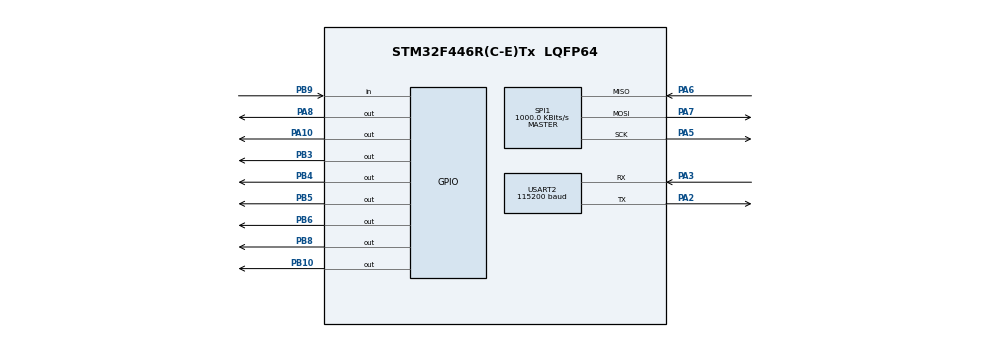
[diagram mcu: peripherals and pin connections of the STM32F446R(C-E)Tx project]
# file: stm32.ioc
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Mcu.Family=STM32F4
Mcu.Name=STM32F446R(C-E)Tx
Mcu.Package=LQFP64
NVIC.PriorityGroup=NVIC_PRIORITYGROUP_4
NVIC.USART2_IRQn=true\:0\:0\:false\:false\:true\:true\:true\:true
PA10.Signal=GPIO_Output
PA2.Mode=Asynchronous
PA2.Signal=USART2_TX
PA3.Mode=Asynchronous
PA3.Signal=USART2_RX
PA5.Mode=Full_Duplex_Master
PA5.Signal=SPI1_SCK
PA6.Mode=Full_Duplex_Master
PA6.Signal=SPI1_MISO
PA7.Mode=Full_Duplex_Master
PA7.Signal=SPI1_MOSI
PA8.Signal=GPIO_Output
PB10.Signal=GPIO_Output
PB3.Signal=GPIO_Output
PB4.Signal=GPIO_Output
PB5.Signal=GPIO_Output
PB6.Signal=GPIO_Output
PB8.Signal=GPIO_Output
PB9.Signal=GPIO_Input
ProjectManager.HeapSize=0x200
ProjectManager.StackSize=0x400
ProjectManager.TargetToolchain=STM32CubeIDE
RCC.CortexFreq_Value=16000000
RCC.USBFreq_Value=96000000
RCC.VCOOutputFreq_Value=192000000
SPI1.BaudRatePrescaler=SPI_BAUDRATEPRESCALER_16
SPI1.CLKPhase=SPI_PHASE_2EDGE
SPI1.CalculateBaudRate=1000.0 KBits/s
SPI1.Direction=SPI_DIRECTION_2LINES
SPI1.Mode=SPI_MODE_MASTER
SPI1.VirtualType=VM_MASTER
USART2.BaudRate=115200
USART2.VirtualMode=VM_ASYNC
board=custom

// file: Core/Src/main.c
/* USER CODE BEGIN Header */
/**
  ******************************************************************************
  * @file           : main.c
  * @brief          : Main program body
  ******************************************************************************
  * @attention
  *
  * Copyright (c) 2026 STMicroelectronics.
  * All rights reserved.
  *
  * This software is licensed under terms that can be found in the LICENSE file
  * in the root directory of this software component.
  * If no LICENSE file comes with this software, it is provided AS-IS.
  *
  ******************************************************************************
  */
/* USER CODE END Header */
#include "main.h"

/* USER CODE BEGIN Includes */
#include "stdio.h"
#include "string.h"
#include "python_to_stm32.h"
#include "ads.h"

/* USER CODE END Includes */

SPI_HandleTypeDef hspi1;

UART_HandleTypeDef huart2;

void SystemClock_Config(void);
static void MX_GPIO_Init(void);
static void MX_USART2_UART_Init(void);
static void MX_SPI1_Init(void);
/* USER CODE BEGIN PFP */

/**
   *  @brief Denne bruges til at modtage data fra python.
   */
  uint8_t rx_buffer[1] = {0};
  /*
   * @brief Denne har alle uart signalerne samlet i en buffer.
   */
  RingBuffer uart_rx_buf = { .buffer = {0}, .head = 0, .tail = 0 }; // stores every rx_buffer in a ring buffer, see interrupt function

/* USER CODE END PFP */

int main(void)
{

  /* MCU Configuration--------------------------------------------------------*/

  /* Reset of all peripherals, Initializes the Flash interface and the Systick. */
  HAL_Init();

  /* USER CODE BEGIN Init */
  setvbuf(stdout, NULL, _IONBF, 0);

  /* USER CODE END Init */

  /* Configure the system clock */
  SystemClock_Config();

  /* Initialize all configured peripherals */
  MX_GPIO_Init();
  MX_USART2_UART_Init();
  MX_SPI1_Init();
  /* USER CODE BEGIN 2 */

  //UART with ringbuffer init
  HAL_UART_Receive_IT(&huart2, rx_buffer, 1);

  /* USER CODE END 2 */

  /* Infinite loop */
  /* USER CODE BEGIN WHILE */
  ADS_Stats ads_status = {2,5,0,0,0};

  while (1)
  {
	  parse_commands(&uart_rx_buf, &ads_status);
	  /*if (ads_status.flag0) {printAllData(ads_status.minchan, ads_status.maxchan);}
	  else */
	  if (ads_status.flag1) {
		  printAllDataDumb(ads_status.minchan, ads_status.maxchan, ads_status.flag11);
		  if (ads_status.flag11 == 0) {
			  ads_status.flag11 = 1;
		  }
	  //
	  }
	  HAL_Delay(1);
    /* USER CODE END WHILE */

  }
}

void SystemClock_Config(void)
{
  RCC_OscInitTypeDef RCC_OscInitStruct = {0};
  RCC_ClkInitTypeDef RCC_ClkInitStruct = {0};

  /** Configure the main internal regulator output voltage
  */
  __HAL_RCC_PWR_CLK_ENABLE();
  __HAL_PWR_VOLTAGESCALING_CONFIG(PWR_REGULATOR_VOLTAGE_SCALE3);

  /** Initializes the RCC Oscillators according to the specified parameters
  * in the RCC_OscInitTypeDef structure.
  */
  RCC_OscInitStruct.OscillatorType = RCC_OSCILLATORTYPE_HSI;
  RCC_OscInitStruct.HSIState = RCC_HSI_ON;
  RCC_OscInitStruct.HSICalibrationValue = RCC_HSICALIBRATION_DEFAULT;
  RCC_OscInitStruct.PLL.PLLState = RCC_PLL_NONE;
  if (HAL_RCC_OscConfig(&RCC_OscInitStruct) != HAL_OK)
  {
    Error_Handler();
  }

  /** Initializes the CPU, AHB and APB buses clocks
  */
  RCC_ClkInitStruct.ClockType = RCC_CLOCKTYPE_HCLK|RCC_CLOCKTYPE_SYSCLK
                              |RCC_CLOCKTYPE_PCLK1|RCC_CLOCKTYPE_PCLK2;
  RCC_ClkInitStruct.SYSCLKSource = RCC_SYSCLKSOURCE_HSI;
  RCC_ClkInitStruct.AHBCLKDivider = RCC_SYSCLK_DIV1;
  RCC_ClkInitStruct.APB1CLKDivider = RCC_HCLK_DIV1;
  RCC_ClkInitStruct.APB2CLKDivider = RCC_HCLK_DIV1;

  if (HAL_RCC_ClockConfig(&RCC_ClkInitStruct, FLASH_LATENCY_0) != HAL_OK)
  {
    Error_Handler();
  }
}

static void MX_SPI1_Init(void)
{

  /* SPI1 parameter configuration*/
  hspi1.Instance = SPI1;
  hspi1.Init.Mode = SPI_MODE_MASTER;
  hspi1.Init.Direction = SPI_DIRECTION_2LINES;
  hspi1.Init.DataSize = SPI_DATASIZE_8BIT;
  hspi1.Init.CLKPolarity = SPI_POLARITY_LOW;
  hspi1.Init.CLKPhase = SPI_PHASE_2EDGE;
  hspi1.Init.NSS = SPI_NSS_SOFT;
  hspi1.Init.BaudRatePrescaler = SPI_BAUDRATEPRESCALER_16;
  hspi1.Init.FirstBit = SPI_FIRSTBIT_MSB;
  hspi1.Init.TIMode = SPI_TIMODE_DISABLE;
  hspi1.Init.CRCCalculation = SPI_CRCCALCULATION_DISABLE;
  hspi1.Init.CRCPolynomial = 10;
  if (HAL_SPI_Init(&hspi1) != HAL_OK)
  {
    Error_Handler();
  }

}

static void MX_USART2_UART_Init(void)
{

  huart2.Instance = USART2;
  huart2.Init.BaudRate = 115200;
  huart2.Init.WordLength = UART_WORDLENGTH_8B;
  huart2.Init.StopBits = UART_STOPBITS_1;
  huart2.Init.Parity = UART_PARITY_NONE;
  huart2.Init.Mode = UART_MODE_TX_RX;
  huart2.Init.HwFlowCtl = UART_HWCONTROL_NONE;
  huart2.Init.OverSampling = UART_OVERSAMPLING_16;
  if (HAL_UART_Init(&huart2) != HAL_OK)
  {
    Error_Handler();
  }

}

static void MX_GPIO_Init(void)
{
  GPIO_InitTypeDef GPIO_InitStruct = {0};

  /* GPIO Ports Clock Enable */
  __HAL_RCC_GPIOA_CLK_ENABLE();
  __HAL_RCC_GPIOB_CLK_ENABLE();

  /*Configure GPIO pin Output Level */
  HAL_GPIO_WritePin(GPIOB, GPIO_PIN_10|GPIO_PIN_3|GPIO_PIN_4|GPIO_PIN_5
                          |GPIO_PIN_6|GPIO_PIN_8, GPIO_PIN_RESET);

  /*Configure GPIO pin Output Level */
  HAL_GPIO_WritePin(GPIOA, GPIO_PIN_8|GPIO_PIN_10, GPIO_PIN_RESET);

  /*Configure GPIO pins : PB10 PB3 PB4 PB5
                           PB6 PB8 */
  GPIO_InitStruct.Pin = GPIO_PIN_10|GPIO_PIN_3|GPIO_PIN_4|GPIO_PIN_5
                          |GPIO_PIN_6|GPIO_PIN_8;
  GPIO_InitStruct.Mode = GPIO_MODE_OUTPUT_PP;
  GPIO_InitStruct.Pull = GPIO_NOPULL;
  GPIO_InitStruct.Speed = GPIO_SPEED_FREQ_LOW;
  HAL_GPIO_Init(GPIOB, &GPIO_InitStruct);

  /*Configure GPIO pins : PA8 PA10 */
  GPIO_InitStruct.Pin = GPIO_PIN_8|GPIO_PIN_10;
  GPIO_InitStruct.Mode = GPIO_MODE_OUTPUT_PP;
  GPIO_InitStruct.Pull = GPIO_NOPULL;
  GPIO_InitStruct.Speed = GPIO_SPEED_FREQ_LOW;
  HAL_GPIO_Init(GPIOA, &GPIO_InitStruct);

  /*Configure GPIO pin : PB9 */
  GPIO_InitStruct.Pin = GPIO_PIN_9;
  GPIO_InitStruct.Mode = GPIO_MODE_INPUT;
  GPIO_InitStruct.Pull = GPIO_NOPULL;
  HAL_GPIO_Init(GPIOB, &GPIO_InitStruct);

}

/* USER CODE BEGIN 4 */

/**
 * @brief This is necessary to write to the USB port with Putty.
 */
/*
 *  Dette indstiller huart2 som ringbuffer interrupt handler.
 */

void HAL_UART_RxCpltCallback(UART_HandleTypeDef *huart) {
	if (huart == &huart2) {
		RingBuffer_Write(&uart_rx_buf, rx_buffer[0]);
		HAL_UART_Receive_IT(&huart2, rx_buffer, 1);  // Re-arm interrupt
	}
}

int _write(int file, char *data, int len)
{
    HAL_UART_Transmit(&huart2, (uint8_t*)data, len, HAL_MAX_DELAY);
    return len;
}

/* USER CODE END 4 */

void Error_Handler(void)
{
  __disable_irq();
  while (1)
  {
  }
}
